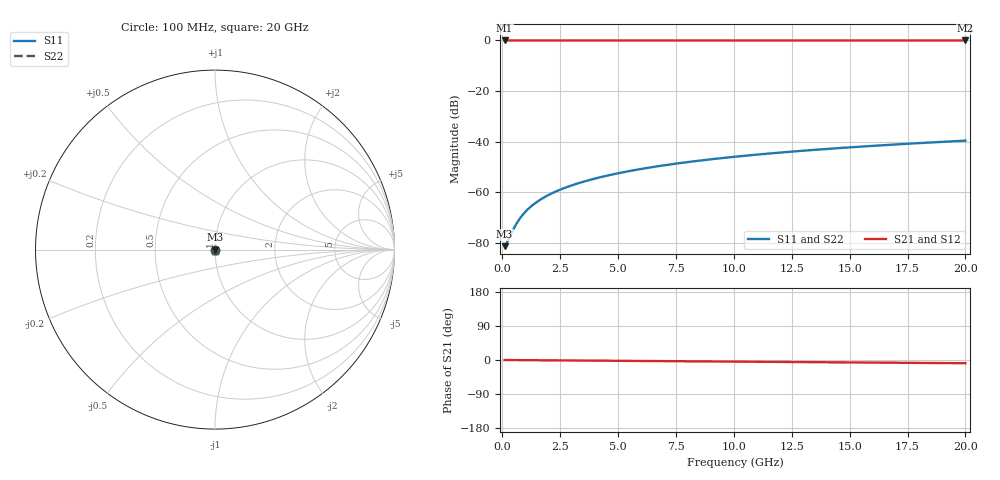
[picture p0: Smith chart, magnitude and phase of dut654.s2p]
! Touchstone file exported from HFSS 2026.1.0
!  File:  C:/ffzhzh/LocalFiles/Ansys_Project_Files/temp_train_TSV_654_1783026714_53980.aedt
!  Generated:  05:13:51 AM Jul  3, 2026
!  Design:  TSV
!  Project:  temp_train_TSV_654_1783026714_53980
! Variables:
!  h_bsmrdl = 2um
!  h_ox = 20um
!  h_rdl = 5um
!  h_sub = 84.76um
!  h_tmrdl = 5um
!  h_tsv = 84.76um
!  h_via = 3um
!  l_bsmrdl = 300um
!  l_sub = 426.98um
!  l_tmrdl = 200um
!  m_sub = 200um
!  pitch = 50.23um
!  r_tsv = 13.49um
!  s_tmrdl = 10um
!  w_bsmrdl = 18um
!  w_sub = 500um
!  w_tmrdl = 12um
!  x_tsv_center1 = 206um
!  x_tsv_center2 = 524um
!  x_tsv_center3 = 736um
!  x_tsv_center4 = 1054um
!  x_tsv_center5 = 1266um
!  x_tsv_center6 = 1584um
# GHz S MA R 50.000000
! Terminal data exported
! Port[1] = TSV1_1_T1
! Port[2] = TSV1_1_T2
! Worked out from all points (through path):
!   200 points, 100 MHz to 20 GHz, reference 50 ohm
!   highest |S21| = 0.00 dB at 100 MHz (marker M1); lowest = 0.0 dB at 20 GHz (marker M2)
!   group delay of S21, straight-line fit = 1.18 ps
!   lowest |S11| = -81.3 dB at 100 MHz (marker M3), VSWR 1.00, Z = 50 - j0.000862 ohm
!   |S11| at or under -10 dB: start of sweep to end of sweep
!   |S22| runs from -81.3 to -39.6 dB; largest |S21 - S12| = 2e-15
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0.1  8.66e-05 -5.7  0.9999 -0.0  0.9999 -0.0  8.66e-05 -5.7
! Gamma 0 0 0 0
! Port Impedance 50 0 50 0
0.2  0.0001023 -11.8  0.9999 -0.1  0.9999 -0.1  0.0001023 -11.8
0.5  0.000195 -30.2  0.9998 -0.2  0.9998 -0.2  0.000195 -30.2
0.6  0.0002354 -35.3  0.9998 -0.3  0.9998 -0.3  0.0002354 -35.3
0.8  0.0003228 -43.8  0.9998 -0.4  0.9998 -0.4  0.0003228 -43.8
1  0.0004147 -50.3  0.9997 -0.4  0.9997 -0.4  0.0004147 -50.3
1.3  0.0005558 -57.4  0.9997 -0.6  0.9997 -0.6  0.0005558 -57.4
1.5  0.0006508 -60.8  0.9997 -0.6  0.9997 -0.6  0.0006508 -60.8
1.7  0.0007462 -63.6  0.9997 -0.7  0.9997 -0.7  0.0007462 -63.6
2.2  0.0009861 -68.5  0.9996 -0.9  0.9996 -0.9  0.0009861 -68.5
2.8  0.001277 -72.2  0.9996 -1.2  0.9996 -1.2  0.001277 -72.2
3.5  0.001623 -75.1  0.9995 -1.5  0.9995 -1.5  0.001623 -75.1
4.2  0.001975 -77.1  0.9995 -1.8  0.9995 -1.8  0.001975 -77.1
5  0.002383 -78.8  0.9994 -2.1  0.9994 -2.1  0.002383 -78.8
5.9  0.002851 -80.4  0.9994 -2.5  0.9994 -2.5  0.002851 -80.4
6.8  0.003324 -81.7  0.9993 -2.9  0.9993 -2.9  0.003324 -81.7
8.3  0.004121 -83.6  0.9993 -3.5  0.9993 -3.5  0.004121 -83.6
10.1  0.005086 -85.4  0.9992 -4.3  0.9992 -4.3  0.005086 -85.4
11.7  0.005949 -86.8  0.9991 -5.0  0.9991 -5.0  0.005949 -86.8
13.4  0.006871 -88.2  0.9991 -5.7  0.9991 -5.7  0.006871 -88.2
16.7  0.008675 -90.4  0.999 -7.1  0.999 -7.1  0.008675 -90.4
20  0.0105 -92.4  0.9988 -8.5  0.9988 -8.5  0.0105 -92.4
